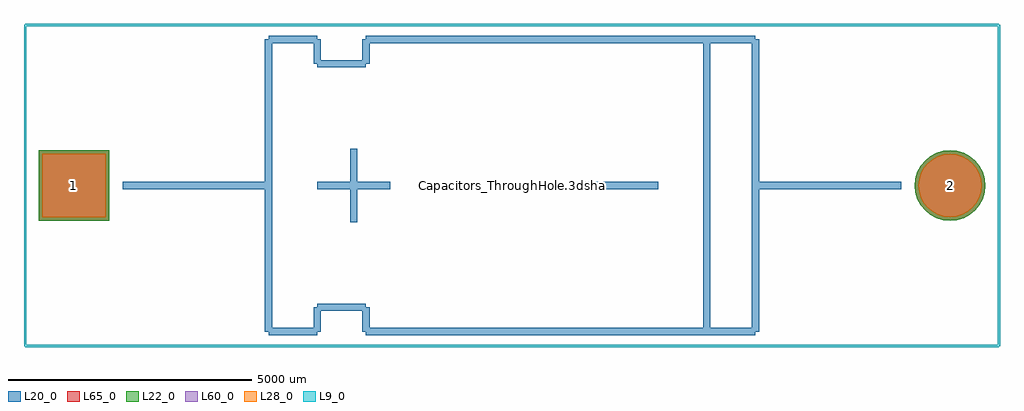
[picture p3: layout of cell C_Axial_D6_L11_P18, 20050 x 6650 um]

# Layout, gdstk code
import gdstk
lib = gdstk.Library(unit=1e-6, precision=1e-09)
def R(c, l, rs):  # rectangles x0, y0, x1, y1
    for r in rs: c.add(gdstk.rectangle(r[:2], r[2:], *l))
def P(c, l, *ps):  # polygons
    for p in ps: c.add(gdstk.Polygon(p, *l))
L9_0 = (9, 0)
L20_0 = (20, 0)
L22_0 = (22, 0)
L28_0 = (28, 0)
L60_0 = (60, 0)
L65_0 = (65, 0)

c_axial_d6_l11_p18 = lib.new_cell('C_Axial_D6_L11_P18')
R(c_axial_d6_l11_p18, L22_0, [(-725,-725,725,725)])
P(c_axial_d6_l11_p18, L22_0, [(18725,0),(18711.069,141.44),(18669.813,277.445),(18602.815,402.788),(18512.652,512.652),(18402.788,602.815),(18277.445,669.813),(18141.44,711.069),(18000,725),(17858.56,711.069),(17722.555,669.813),(17597.212,602.815),(17487.348,512.652),(17397.185,402.788),(17330.187,277.445),(17288.931,141.44),(17275,0),(17288.931,-141.44),(17330.187,-277.445),(17397.185,-402.788),(17487.348,-512.652),(17597.212,-602.815),(17722.555,-669.813),(17858.56,-711.069),(18000,-725),(18141.44,-711.069),(18277.445,-669.813),(18402.788,-602.815),(18512.652,-512.652),(18602.815,-402.788),(18669.813,-277.445),(18711.069,-141.44)])
R(c_axial_d6_l11_p18, L28_0, [(-650,-650,650,650)])
P(c_axial_d6_l11_p18, L28_0, [(18650,0),(18637.51,126.809),(18600.522,248.744),(18540.455,361.121),(18459.619,459.619),(18361.121,540.455),(18248.744,600.522),(18126.809,637.51),(18000,650),(17873.191,637.51),(17751.256,600.522),(17638.879,540.455),(17540.381,459.619),(17459.545,361.121),(17399.478,248.744),(17362.49,126.809),(17350,0),(17362.49,-126.809),(17399.478,-248.744),(17459.545,-361.121),(17540.381,-459.619),(17638.879,-540.455),(17751.256,-600.522),(17873.191,-637.51),(18000,-650),(18126.809,-637.51),(18248.744,-600.522),(18361.121,-540.455),(18459.619,-459.619),(18540.455,-361.121),(18600.522,-248.744),(18637.51,-126.809)])
R(c_axial_d6_l11_p18, L60_0, [(-650,-650,650,650)])
P(c_axial_d6_l11_p18, L60_0, [(18650,0),(18637.51,126.809),(18600.522,248.744),(18540.455,361.121),(18459.619,459.619),(18361.121,540.455),(18248.744,600.522),(18126.809,637.51),(18000,650),(17873.191,637.51),(17751.256,600.522),(17638.879,540.455),(17540.381,459.619),(17459.545,361.121),(17399.478,248.744),(17362.49,126.809),(17350,0),(17362.49,-126.809),(17399.478,-248.744),(17459.545,-361.121),(17540.381,-459.619),(17638.879,-540.455),(17751.256,-600.522),(17873.191,-637.51),(18000,-650),(18126.809,-637.51),(18248.744,-600.522),(18361.121,-540.455),(18459.619,-459.619),(18540.455,-361.121),(18600.522,-248.744),(18637.51,-126.809)])
R(c_axial_d6_l11_p18, L65_0, [(-725,-725,725,725)])
P(c_axial_d6_l11_p18, L65_0, [(18725,0),(18711.069,141.44),(18669.813,277.445),(18602.815,402.788),(18512.652,512.652),(18402.788,602.815),(18277.445,669.813),(18141.44,711.069),(18000,725),(17858.56,711.069),(17722.555,669.813),(17597.212,602.815),(17487.348,512.652),(17397.185,402.788),(17330.187,277.445),(17288.931,141.44),(17275,0),(17288.931,-141.44),(17330.187,-277.445),(17397.185,-402.788),(17487.348,-512.652),(17597.212,-602.815),(17722.555,-669.813),(17858.56,-711.069),(18000,-725),(18141.44,-711.069),(18277.445,-669.813),(18402.788,-602.815),(18512.652,-512.652),(18602.815,-402.788),(18669.813,-277.445),(18711.069,-141.44)])
c_axial_d6_l11_p18.add(gdstk.FlexPath([(-1000,-3300),(-1000,3300)], 50, ends="flush", simple_path=True, layer=9, datatype=0))  # L9_0
c_axial_d6_l11_p18.add(gdstk.FlexPath([(19000,-3300),(-1000,-3300)], 50, ends="flush", simple_path=True, layer=9, datatype=0))  # L9_0
c_axial_d6_l11_p18.add(gdstk.FlexPath([(19000,3300),(19000,-3300)], 50, ends="flush", simple_path=True, layer=9, datatype=0))  # L9_0
c_axial_d6_l11_p18.add(gdstk.FlexPath([(-1000,3300),(19000,3300)], 50, ends="flush", simple_path=True, layer=9, datatype=0))  # L9_0
c_axial_d6_l11_p18.add(gdstk.FlexPath([(5750,-750),(5750,750)], 149.998, ends="flush", simple_path=True, layer=20, datatype=0))  # L20_0
c_axial_d6_l11_p18.add(gdstk.FlexPath([(5000,0),(6500,0)], 149.998, ends="flush", simple_path=True, layer=20, datatype=0))  # L20_0
c_axial_d6_l11_p18.add(gdstk.FlexPath([(10500,0),(12000,0)], 149.998, ends="flush", simple_path=True, layer=20, datatype=0))  # L20_0
c_axial_d6_l11_p18.add(gdstk.FlexPath([(4000,0),(1000,0)], 149.998, ends="flush", simple_path=True, layer=20, datatype=0))  # L20_0
c_axial_d6_l11_p18.add(gdstk.FlexPath([(17000,0),(14000,0)], 149.998, ends="flush", simple_path=True, layer=20, datatype=0))  # L20_0
c_axial_d6_l11_p18.add(gdstk.FlexPath([(6000,2500),(6000,3000)], 149.998, ends="flush", simple_path=True, layer=20, datatype=0))  # L20_0
c_axial_d6_l11_p18.add(gdstk.FlexPath([(5000,2500),(6000,2500)], 149.998, ends="flush", simple_path=True, layer=20, datatype=0))  # L20_0
c_axial_d6_l11_p18.add(gdstk.FlexPath([(5000,3000),(5000,2500)], 149.998, ends="flush", simple_path=True, layer=20, datatype=0))  # L20_0
c_axial_d6_l11_p18.add(gdstk.FlexPath([(5000,-2500),(5000,-3000)], 149.998, ends="flush", simple_path=True, layer=20, datatype=0))  # L20_0
c_axial_d6_l11_p18.add(gdstk.FlexPath([(6000,-2500),(5000,-2500)], 149.998, ends="flush", simple_path=True, layer=20, datatype=0))  # L20_0
c_axial_d6_l11_p18.add(gdstk.FlexPath([(6000,-3000),(6000,-2500)], 149.998, ends="flush", simple_path=True, layer=20, datatype=0))  # L20_0
c_axial_d6_l11_p18.add(gdstk.FlexPath([(4000,-3000),(4000,3000)], 149.998, ends="flush", simple_path=True, layer=20, datatype=0))  # L20_0
c_axial_d6_l11_p18.add(gdstk.FlexPath([(13000,3000),(13000,-3000)], 149.998, ends="flush", simple_path=True, layer=20, datatype=0))  # L20_0
c_axial_d6_l11_p18.add(gdstk.FlexPath([(14000,-3000),(14000,3000)], 149.998, ends="flush", simple_path=True, layer=20, datatype=0))  # L20_0
c_axial_d6_l11_p18.add(gdstk.FlexPath([(14000,3000),(6000,3000)], 149.998, ends="flush", simple_path=True, layer=20, datatype=0))  # L20_0
c_axial_d6_l11_p18.add(gdstk.FlexPath([(5000,3000),(4000,3000)], 149.998, ends="flush", simple_path=True, layer=20, datatype=0))  # L20_0
c_axial_d6_l11_p18.add(gdstk.FlexPath([(5000,-3000),(4000,-3000)], 149.998, ends="flush", simple_path=True, layer=20, datatype=0))  # L20_0
c_axial_d6_l11_p18.add(gdstk.FlexPath([(6000,-3000),(14000,-3000)], 149.998, ends="flush", simple_path=True, layer=20, datatype=0))  # L20_0
c_axial_d6_l11_p18.add(gdstk.Label('Capacitors_ThroughHole.3dshapes/C_Axial_D6_L11_P18.wrl', (9000.007,0), layer=12, texttype=0))
c_axial_d6_l11_p18.add(gdstk.Label('2', (18000,0), layer=28, texttype=0))
c_axial_d6_l11_p18.add(gdstk.Label('1', (0,0), layer=28, texttype=0))
c_axial_d6_l11_p18.add(gdstk.Label('type', (9000,-4300), layer=9, texttype=0))
c_axial_d6_l11_p18.add(gdstk.Label('devicename', (9000,4300), layer=9, texttype=0))

lib.write_gds('C_Axial_D6_L11_P18.gds')
